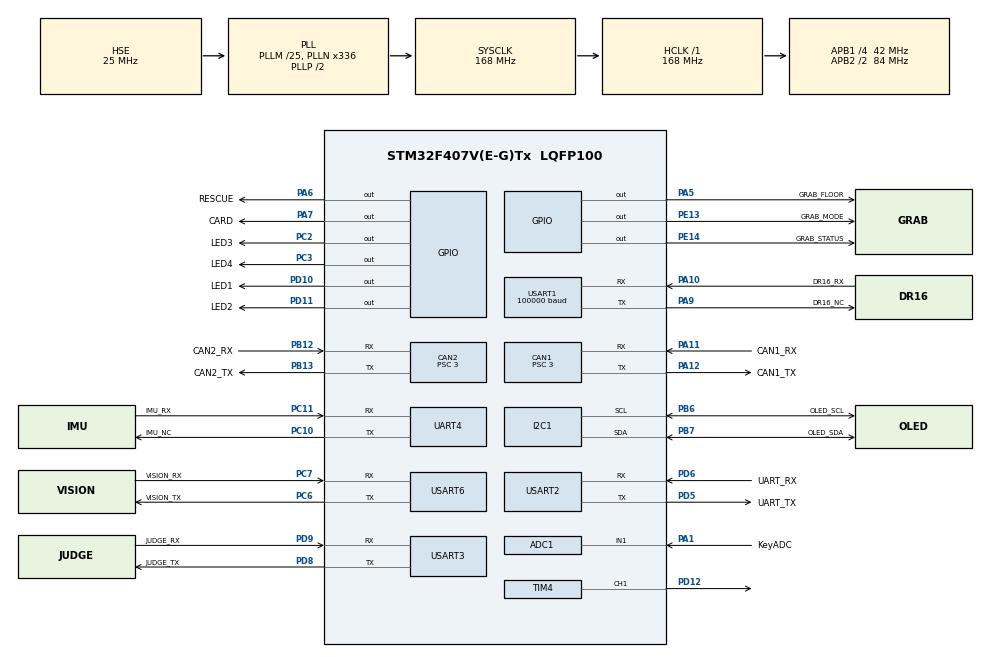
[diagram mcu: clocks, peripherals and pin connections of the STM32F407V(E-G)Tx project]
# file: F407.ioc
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ADC1.Channel-1\#ChannelRegularConversion=ADC_CHANNEL_1
ADC1.Channel-2\#ChannelInjectedConversion=ADC_CHANNEL_1
ADC1.InjNumberOfConversion=1
ADC1.InjectedOffset-2\#ChannelInjectedConversion=0
ADC1.InjectedRank-2\#ChannelInjectedConversion=1
ADC1.NbrOfConversion=1
ADC1.NbrOfConversionFlag=1
ADC1.Rank-1\#ChannelRegularConversion=1
ADC1.SamplingTime-1\#ChannelRegularConversion=ADC_SAMPLETIME_3CYCLES
ADC1.SamplingTime-2\#ChannelInjectedConversion=ADC_SAMPLETIME_3CYCLES
ADC1.master=1
CAN1.BS1=CAN_BS1_10TQ
CAN1.BS2=CAN_BS2_3TQ
CAN1.CalculateBaudRate=1000000
CAN1.CalculateTimeBit=999.99
CAN1.CalculateTimeQuantum=71.42857142857143
CAN1.Prescaler=3
CAN2.BS1=CAN_BS1_10TQ
CAN2.BS2=CAN_BS2_3TQ
CAN2.CalculateBaudRate=1000000
CAN2.CalculateTimeBit=999.99
CAN2.CalculateTimeQuantum=71.42857142857143
CAN2.Prescaler=3
CAN2.SJW=CAN_SJW_1TQ
Dma.Request0=USART1_RX
Dma.Request1=USART3_RX
Dma.Request2=USART3_TX
Dma.USART1_RX.0.Direction=DMA_PERIPH_TO_MEMORY
Dma.USART1_RX.0.FIFOMode=DMA_FIFOMODE_DISABLE
Dma.USART1_RX.0.Instance=DMA2_Stream2
Dma.USART1_RX.0.MemDataAlignment=DMA_MDATAALIGN_BYTE
Dma.USART1_RX.0.MemInc=DMA_MINC_ENABLE
Dma.USART1_RX.0.Mode=DMA_CIRCULAR
Dma.USART1_RX.0.PeriphDataAlignment=DMA_PDATAALIGN_BYTE
Dma.USART1_RX.0.PeriphInc=DMA_PINC_DISABLE
Dma.USART1_RX.0.Priority=DMA_PRIORITY_VERY_HIGH
Dma.USART3_RX.1.Direction=DMA_PERIPH_TO_MEMORY
Dma.USART3_RX.1.FIFOMode=DMA_FIFOMODE_DISABLE
Dma.USART3_RX.1.Instance=DMA1_Stream1
Dma.USART3_RX.1.MemDataAlignment=DMA_MDATAALIGN_BYTE
Dma.USART3_RX.1.MemInc=DMA_MINC_ENABLE
Dma.USART3_RX.1.Mode=DMA_CIRCULAR
Dma.USART3_RX.1.PeriphDataAlignment=DMA_PDATAALIGN_BYTE
Dma.USART3_RX.1.PeriphInc=DMA_PINC_DISABLE
Dma.USART3_RX.1.Priority=DMA_PRIORITY_MEDIUM
Dma.USART3_TX.2.Direction=DMA_MEMORY_TO_PERIPH
Dma.USART3_TX.2.FIFOMode=DMA_FIFOMODE_DISABLE
Dma.USART3_TX.2.Instance=DMA1_Stream3
Dma.USART3_TX.2.MemDataAlignment=DMA_MDATAALIGN_BYTE
Dma.USART3_TX.2.MemInc=DMA_MINC_ENABLE
Dma.USART3_TX.2.Mode=DMA_NORMAL
Dma.USART3_TX.2.PeriphDataAlignment=DMA_PDATAALIGN_BYTE
Dma.USART3_TX.2.PeriphInc=DMA_PINC_DISABLE
Dma.USART3_TX.2.Priority=DMA_PRIORITY_MEDIUM
FREERTOS.Queues01=RDtHMsg,16,uint32_t,0,Dynamic,NULL,NULL;RDtCMsg,16,uint32_t,0,Dynamic,NULL,NULL;RDtSMsg,16,uint32_t,0,Dynamic,NULL,NULL;HDtHMsg,16,uint32_t,0,Dynamic,NULL,NULL
FREERTOS.Tasks01=LED,-3,64,taskLED,Default,NULL,Dynamic,NULL,NULL;MSG,2,128,taskMsg,Default,NULL,Dynamic,NULL,NULL;UI,-1,128,taskUI,Default,NULL,Dynamic,NULL,NULL;KEY,-1,128,taskKey,Default,NULL,Dynamic,NULL,NULL;Chassis,3,512,taskChassis,Default,NULL,Dynamic,NULL,NULL;Holder,3,512,taskHolder,Default,NULL,Dynamic,NULL,NULL;rescue,3,512,taskRescue,Default,NULL,Dynamic,NULL,NULL;Judge,2,1024,taskJudge,Default,NULL,Dynamic,NULL,NULL
FREERTOS.configENABLE_FPU=1
FREERTOS.configMAX_PRIORITIES=7
FREERTOS.configMINIMAL_STACK_SIZE=64
FREERTOS.configQUEUE_REGISTRY_SIZE=16
I2C1.DualAddressMode=I2C_DUALADDRESS_DISABLE
I2C1.I2C_Mode=I2C_Fast
I2C1.OwnAddress=0
IWDG.Reload=3000
Mcu.Family=STM32F4
Mcu.Name=STM32F407V(E-G)Tx
Mcu.Package=LQFP100
NVIC.CAN1_RX0_IRQn=true\:5\:0\:false\:false\:true\:true\:true\:true
NVIC.CAN1_TX_IRQn=true\:5\:0\:false\:false\:true\:true\:true\:true
NVIC.CAN2_RX0_IRQn=true\:5\:0\:false\:false\:true\:true\:true\:true
NVIC.CAN2_TX_IRQn=true\:5\:0\:false\:false\:true\:true\:true\:true
NVIC.DMA1_Stream1_IRQn=true\:5\:0\:false\:false\:true\:true\:false\:true
NVIC.DMA1_Stream3_IRQn=true\:5\:0\:false\:false\:true\:true\:false\:true
NVIC.DMA2_Stream2_IRQn=true\:5\:0\:false\:false\:true\:true\:false\:true
NVIC.PriorityGroup=NVIC_PRIORITYGROUP_4
NVIC.TIM6_DAC_IRQn=true\:0\:0\:false\:false\:true\:false\:false\:true
NVIC.TIM7_IRQn=true\:1\:0\:true\:false\:true\:false\:true\:true
NVIC.TIM8_TRG_COM_TIM14_IRQn=true\:5\:0\:false\:false\:true\:true\:true\:true
NVIC.TimeBase=TIM6_DAC_IRQn
NVIC.TimeBaseIP=TIM6
NVIC.UART4_IRQn=true\:5\:0\:false\:false\:true\:false\:true\:true
NVIC.USART1_IRQn=true\:0\:0\:true\:false\:true\:false\:true\:true
NVIC.USART2_IRQn=true\:0\:0\:true\:false\:true\:false\:true\:true
NVIC.USART3_IRQn=true\:5\:0\:true\:false\:true\:true\:true\:true
NVIC.USART6_IRQn=true\:5\:0\:false\:false\:true\:true\:true\:true
PA1.GPIO_Label=KeyADC
PA1.Signal=ADCx_IN1
PA10.GPIO_Label=DR16_RX
PA10.Mode=Asynchronous
PA10.Signal=USART1_RX
PA11.GPIO_Label=CAN1_RX
PA11.Mode=CAN_Activate
PA11.Signal=CAN1_RX
PA12.GPIO_Label=CAN1_TX
PA12.Mode=CAN_Activate
PA12.Signal=CAN1_TX
PA13.GPIO_Label=SWDIO
PA13.Mode=Serial_Wire
PA13.Signal=SYS_JTMS-SWDIO
PA14.GPIO_Label=SWCLK
PA14.Mode=Serial_Wire
PA14.Signal=SYS_JTCK-SWCLK
PA5.GPIO_Label=GRAB_FLOOR
PA5.GPIO_PuPd=GPIO_PULLUP
PA5.GPIO_Speed=GPIO_SPEED_FREQ_VERY_HIGH
PA5.PinState=GPIO_PIN_RESET
PA5.Signal=GPIO_Output
PA6.GPIO_Label=RESCUE
PA6.GPIO_PuPd=GPIO_PULLUP
PA6.GPIO_Speed=GPIO_SPEED_FREQ_VERY_HIGH
PA6.Signal=GPIO_Output
PA7.GPIO_Label=CARD
PA7.GPIO_PuPd=GPIO_PULLUP
PA7.GPIO_Speed=GPIO_SPEED_FREQ_VERY_HIGH
PA7.Signal=GPIO_Output
PA9.GPIO_Label=DR16_NC
PA9.Mode=Asynchronous
PA9.Signal=USART1_TX
PB12.GPIO_Label=CAN2_RX
PB12.Mode=CAN_Activate
PB12.Signal=CAN2_RX
PB13.GPIO_Label=CAN2_TX
PB13.Mode=CAN_Activate
PB13.Signal=CAN2_TX
PB6.GPIO_Label=OLED_SCL
PB6.GPIO_Pu=GPIO_PULLUP
PB6.Mode=I2C
PB6.Signal=I2C1_SCL
PB7.GPIO_Label=OLED_SDA
PB7.GPIO_Pu=GPIO_PULLUP
PB7.Mode=I2C
PB7.Signal=I2C1_SDA
PC10.GPIO_Label=IMU_NC
PC10.Mode=Asynchronous
PC10.Signal=UART4_TX
PC11.GPIO_Label=IMU_RX
PC11.Mode=Asynchronous
PC11.Signal=UART4_RX
PC2.GPIO_Label=LED3
PC2.GPIO_PuPd=GPIO_PULLUP
PC2.GPIO_Speed=GPIO_SPEED_FREQ_HIGH
PC2.Signal=GPIO_Output
PC3.GPIO_Label=LED4
PC3.GPIO_PuPd=GPIO_PULLUP
PC3.GPIO_Speed=GPIO_SPEED_FREQ_HIGH
PC3.Signal=GPIO_Output
PC6.GPIO_Label=VISION_TX
PC6.Mode=Asynchronous
PC6.Signal=USART6_TX
PC7.GPIO_Label=VISION_RX
PC7.Mode=Asynchronous
PC7.Signal=USART6_RX
PD10.GPIO_Label=LED1
PD10.GPIO_PuPd=GPIO_PULLUP
PD10.GPIO_Speed=GPIO_SPEED_FREQ_HIGH
PD10.Signal=GPIO_Output
PD11.GPIO_Label=LED2
PD11.GPIO_PuPd=GPIO_PULLUP
PD11.GPIO_Speed=GPIO_SPEED_FREQ_HIGH
PD11.Signal=GPIO_Output
PD12.Signal=S_TIM4_CH1
PD5.GPIO_Label=UART_TX
PD5.Mode=Asynchronous
PD5.Signal=USART2_TX
PD6.GPIO_Label=UART_RX
PD6.Mode=Asynchronous
PD6.Signal=USART2_RX
PD8.GPIO_Label=JUDGE_TX
PD8.Mode=Asynchronous
PD8.Signal=USART3_TX
PD9.GPIO_Label=JUDGE_RX
PD9.Mode=Asynchronous
PD9.Signal=USART3_RX
PE13.GPIO_Label=GRAB_MODE
PE13.GPIO_PuPd=GPIO_NOPULL
PE13.GPIO_Speed=GPIO_SPEED_FREQ_VERY_HIGH
PE13.Signal=GPIO_Output
PE14.GPIO_Label=GRAB_STATUS
PE14.GPIO_PuPd=GPIO_NOPULL
PE14.GPIO_Speed=GPIO_SPEED_FREQ_VERY_HIGH
PE14.Signal=GPIO_Output
PH0-OSC_IN.GPIO_Label=OSC_IN
PH0-OSC_IN.Mode=HSE-External-Oscillator
PH0-OSC_IN.Signal=RCC_OSC_IN
PH1-OSC_OUT.GPIO_Label=OSC_OUT
PH1-OSC_OUT.Mode=HSE-External-Oscillator
PH1-OSC_OUT.Signal=RCC_OSC_OUT
ProjectManager.HeapSize=0x200
ProjectManager.StackSize=0x400
ProjectManager.TargetToolchain=MDK-ARM V5.27
RCC.48MHZClocksFreq_Value=84000000
RCC.AHBFreq_Value=168000000
RCC.APB1CLKDivider=RCC_HCLK_DIV4
RCC.APB1Freq_Value=42000000
RCC.APB1TimFreq_Value=84000000
RCC.APB2CLKDivider=RCC_HCLK_DIV2
RCC.APB2Freq_Value=84000000
RCC.APB2TimFreq_Value=168000000
RCC.CortexFreq_Value=168000000
RCC.HCLKFreq_Value=168000000
RCC.HSE_VALUE=25000000
RCC.HSI_VALUE=16000000
RCC.LSE_VALUE=32768
RCC.PLLM=25
RCC.PLLN=336
RCC.PLLSourceVirtual=RCC_PLLSOURCE_HSE
RCC.SYSCLKFreq_VALUE=168000000
RCC.SYSCLKSource=RCC_SYSCLKSOURCE_PLLCLK
RCC.VCOOutputFreq_Value=336000000
SH.ADCx_IN1.0=ADC1_IN1,IN1
SH.S_TIM4_CH1.0=TIM4_CH1,PWM Generation1 CH1
TIM14.Period=2500-1
TIM14.Prescaler=8400-1
TIM4.Channel-PWM\ Generation1\ CH1=TIM_CHANNEL_1
TIM4.Period=100
TIM4.Prescaler=84-1
TIM7.Period=65536-1
TIM7.Prescaler=84-1
UART4.VirtualMode=Asynchronous
USART1.BaudRate=100000
USART1.Mode=MODE_RX
USART1.Parity=PARITY_EVEN
USART1.VirtualMode=VM_ASYNC
USART1.WordLength=WORDLENGTH_9B
USART2.VirtualMode=VM_ASYNC
USART3.VirtualMode=VM_ASYNC
USART6.VirtualMode=VM_ASYNC
VP_FREERTOS_VS_CMSIS_V1.Mode=CMSIS_V1
VP_IWDG_VS_IWDG.Mode=IWDG_Activate
VP_SYS_VS_tim6.Mode=TIM6
VP_TIM14_VS_ClockSourceINT.Mode=Enable_Timer
VP_TIM7_VS_ClockSourceINT.Mode=Enable_Timer
board=custom

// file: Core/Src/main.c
/* USER CODE BEGIN Header */
/**
  ******************************************************************************
  * @file           : main.c
  * @brief          : Main program body
  ******************************************************************************
  * @attention
  *
  * <h2><center>&copy; Copyright (c) 2020 STMicroelectronics.
  * All rights reserved.</center></h2>
  *
  * This software component is licensed by ST under Ultimate Liberty license
  * SLA0044, the "License"; You may not use this file except in compliance with
  * the License. You may obtain a copy of the License at:
  *                             www.st.com/SLA0044
  *
  ******************************************************************************
  */
/* USER CODE END Header */
#include "main.h"
#include "cmsis_os.h"
#include "adc.h"
#include "can.h"
#include "dma.h"
#include "i2c.h"
#include "iwdg.h"
#include "tim.h"
#include "usart.h"
#include "gpio.h"

/* USER CODE BEGIN Includes */
#include "judge.h"
#include "vision.h"
#include "mpu6500.h"
#include "oled.h"
#include <string.h>
#include "judge_tx.h"
#include "iwdg.h"
#include "holder.h"
#include "chassis.h"
/* USER CODE END Includes */

void SystemClock_Config(void);
void MX_FREERTOS_Init(void);

int main(void)
{

  /* MCU Configuration--------------------------------------------------------*/

  /* Reset of all peripherals, Initializes the Flash interface and the Systick. */
  HAL_Init();

  /* Configure the system clock */
  SystemClock_Config();

  /* Initialize all configured peripherals */
  MX_GPIO_Init();
  MX_DMA_Init();
  MX_USART1_UART_Init();
  MX_USART2_UART_Init();
  MX_CAN1_Init();
  MX_CAN2_Init();
  MX_I2C1_Init();
  MX_UART4_Init();
  MX_TIM7_Init();
  MX_TIM14_Init();
  MX_ADC1_Init();
  MX_USART3_UART_Init();
  MX_USART6_UART_Init();
  MX_TIM4_Init();
  MX_IWDG_Init();
  /* USER CODE BEGIN 2 */
  TIM14_START();
  UART1_RemoteStart();
  CAN1_FilterInit();
  CAN2_FilterInit();
  UART4_IMUStart();
  UART3_JudgeStart();
  UART6_VisionStart();
  TIM4_PWMSTART();
  ADC1_IN1START();
  OLED_Init();
  HAL_Delay(500);
  UART1_RemoteCheck();/* 不插遥控器调试时关闭 */
  MX_IWDG_Init();
#ifdef DEBUG_USART
	USART2_DebugStart();
#endif
  /* USER CODE END 2 */

  /* Call init function for freertos objects (in freertos.c) */
  MX_FREERTOS_Init();
  /* Start scheduler */
  osKernelStart();

  /* We should never get here as control is now taken by the scheduler */
  /* Infinite loop */
  while (1)
  {

  }
}

void SystemClock_Config(void)
{
  RCC_OscInitTypeDef RCC_OscInitStruct = {0};
  RCC_ClkInitTypeDef RCC_ClkInitStruct = {0};

  /** Configure the main internal regulator output voltage
  */
  __HAL_RCC_PWR_CLK_ENABLE();
  __HAL_PWR_VOLTAGESCALING_CONFIG(PWR_REGULATOR_VOLTAGE_SCALE1);
  /** Initializes the RCC Oscillators according to the specified parameters
  * in the RCC_OscInitTypeDef structure.
  */
  RCC_OscInitStruct.OscillatorType = RCC_OSCILLATORTYPE_LSI|RCC_OSCILLATORTYPE_HSE;
  RCC_OscInitStruct.HSEState = RCC_HSE_ON;
  RCC_OscInitStruct.LSIState = RCC_LSI_ON;
  RCC_OscInitStruct.PLL.PLLState = RCC_PLL_ON;
  RCC_OscInitStruct.PLL.PLLSource = RCC_PLLSOURCE_HSE;
  RCC_OscInitStruct.PLL.PLLM = 25;
  RCC_OscInitStruct.PLL.PLLN = 336;
  RCC_OscInitStruct.PLL.PLLP = RCC_PLLP_DIV2;
  RCC_OscInitStruct.PLL.PLLQ = 4;
  if (HAL_RCC_OscConfig(&RCC_OscInitStruct) != HAL_OK)
  {
    Error_Handler();
  }
  /** Initializes the CPU, AHB and APB buses clocks
  */
  RCC_ClkInitStruct.ClockType = RCC_CLOCKTYPE_HCLK|RCC_CLOCKTYPE_SYSCLK
                              |RCC_CLOCKTYPE_PCLK1|RCC_CLOCKTYPE_PCLK2;
  RCC_ClkInitStruct.SYSCLKSource = RCC_SYSCLKSOURCE_PLLCLK;
  RCC_ClkInitStruct.AHBCLKDivider = RCC_SYSCLK_DIV1;
  RCC_ClkInitStruct.APB1CLKDivider = RCC_HCLK_DIV4;
  RCC_ClkInitStruct.APB2CLKDivider = RCC_HCLK_DIV2;

  if (HAL_RCC_ClockConfig(&RCC_ClkInitStruct, FLASH_LATENCY_5) != HAL_OK)
  {
    Error_Handler();
  }
}

void HAL_TIM_PeriodElapsedCallback(TIM_HandleTypeDef *htim)
{
  if (htim->Instance == TIM6) {
    HAL_IncTick();
  }
  /* USER CODE BEGIN Callback 1 */
  if (htim->Instance == TIM14) {
    Observer.Tx = Observer.Rx;
    memset(&Observer.Rx,0,sizeof(rate_t));
	  HAL_IWDG_Refresh(&hiwdg);
  }
  /* USER CODE END Callback 1 */
}

void Error_Handler(void)
{
}

/************************ (C) COPYRIGHT STMicroelectronics *****END OF FILE****/

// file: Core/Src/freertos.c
/* USER CODE BEGIN Header */
/**
  ******************************************************************************
  * File Name          : freertos.c
  * Description        : Code for freertos applications
  ******************************************************************************
  * @attention
  *
  * <h2><center>&copy; Copyright (c) 2020 STMicroelectronics.
  * All rights reserved.</center></h2>
  *
  * This software component is licensed by ST under Ultimate Liberty license
  * SLA0044, the "License"; You may not use this file except in compliance with
  * the License. You may obtain a copy of the License at:
  *                             www.st.com/SLA0044
  *
  ******************************************************************************
  */
/* USER CODE END Header */

#include "FreeRTOS.h"
#include "task.h"
#include "main.h"
#include "cmsis_os.h"

/* USER CODE BEGIN Includes */
#include "usart.h"
#include "tim.h"
#include "ui.h"
#include "message.h"
#include "judge.h"
#include "vision.h"
#include "holder.h"
#include "chassis.h"
/* USER CODE END Includes */

/* USER CODE BEGIN Variables */
osEvent evt;
RemoteData_t look1;
/* USER CODE END Variables */
osThreadId LEDHandle;
osThreadId MSGHandle;
osThreadId UIHandle;
osThreadId KEYHandle;
osThreadId ChassisHandle;
osThreadId HolderHandle;
osThreadId rescueHandle;
osThreadId JudgeHandle;
osMessageQId RDtHMsgHandle;
osMessageQId RDtCMsgHandle;
osMessageQId RDtSMsgHandle;
osMessageQId HDtHMsgHandle;

void taskLED(void const * argument);
void taskMsg(void const * argument);
void taskUI(void const * argument);
void taskKey(void const * argument);
void taskChassis(void const * argument);
void taskHolder(void const * argument);
void taskRescue(void const * argument);
void taskJudge(void const * argument);

void MX_FREERTOS_Init(void); /* (MISRA C 2004 rule 8.1) */

/* GetIdleTaskMemory prototype (linked to static allocation support) */
void vApplicationGetIdleTaskMemory( StaticTask_t **ppxIdleTaskTCBBuffer, StackType_t **ppxIdleTaskStackBuffer, uint32_t *pulIdleTaskStackSize );

/* USER CODE BEGIN GET_IDLE_TASK_MEMORY */
static StaticTask_t xIdleTaskTCBBuffer;
static StackType_t xIdleStack[configMINIMAL_STACK_SIZE];

void vApplicationGetIdleTaskMemory(StaticTask_t **ppxIdleTaskTCBBuffer, StackType_t **ppxIdleTaskStackBuffer, uint32_t *pulIdleTaskStackSize)
{
    *ppxIdleTaskTCBBuffer = &xIdleTaskTCBBuffer;
    *ppxIdleTaskStackBuffer = &xIdleStack[0];
    *pulIdleTaskStackSize = configMINIMAL_STACK_SIZE;
    /* place for user code */
}
/* USER CODE END GET_IDLE_TASK_MEMORY */

void MX_FREERTOS_Init(void) {

  /* Create the queue(s) */
  /* definition and creation of RDtHMsg */
  osMessageQDef(RDtHMsg, 16, uint32_t);
  RDtHMsgHandle = osMessageCreate(osMessageQ(RDtHMsg), NULL);

  /* definition and creation of RDtCMsg */
  osMessageQDef(RDtCMsg, 16, uint32_t);
  RDtCMsgHandle = osMessageCreate(osMessageQ(RDtCMsg), NULL);

  /* definition and creation of RDtSMsg */
  osMessageQDef(RDtSMsg, 16, uint32_t);
  RDtSMsgHandle = osMessageCreate(osMessageQ(RDtSMsg), NULL);

  /* definition and creation of HDtHMsg */
  osMessageQDef(HDtHMsg, 16, uint32_t);
  HDtHMsgHandle = osMessageCreate(osMessageQ(HDtHMsg), NULL);

  /* Create the thread(s) */
  /* definition and creation of LED */
  osThreadDef(LED, taskLED, osPriorityIdle, 0, 64);
  LEDHandle = osThreadCreate(osThread(LED), NULL);

  /* definition and creation of MSG */
  osThreadDef(MSG, taskMsg, osPriorityHigh, 0, 128);
  MSGHandle = osThreadCreate(osThread(MSG), NULL);

  /* definition and creation of UI */
  osThreadDef(UI, taskUI, osPriorityBelowNormal, 0, 128);
  UIHandle = osThreadCreate(osThread(UI), NULL);

  /* definition and creation of KEY */
  osThreadDef(KEY, taskKey, osPriorityBelowNormal, 0, 128);
  KEYHandle = osThreadCreate(osThread(KEY), NULL);

  /* definition and creation of Chassis */
  osThreadDef(Chassis, taskChassis, osPriorityRealtime, 0, 512);
  ChassisHandle = osThreadCreate(osThread(Chassis), NULL);

  /* definition and creation of Holder */
  osThreadDef(Holder, taskHolder, osPriorityRealtime, 0, 512);
  HolderHandle = osThreadCreate(osThread(Holder), NULL);

  /* definition and creation of rescue */
  osThreadDef(rescue, taskRescue, osPriorityRealtime, 0, 512);
  rescueHandle = osThreadCreate(osThread(rescue), NULL);

  /* definition and creation of Judge */
  osThreadDef(Judge, taskJudge, osPriorityHigh, 0, 1024);
  JudgeHandle = osThreadCreate(osThread(Judge), NULL);

}

void taskLED(void const * argument)
{
  /* USER CODE BEGIN taskLED */
    HAL_GPIO_WritePin(GPIOD, LED1_Pin, GPIO_PIN_RESET);
    HAL_GPIO_WritePin(GPIOD, LED2_Pin, GPIO_PIN_SET);
    HAL_GPIO_WritePin(GPIOC, LED3_Pin, GPIO_PIN_RESET);
    HAL_GPIO_WritePin(GPIOC, LED4_Pin, GPIO_PIN_SET);
    RemoteData_t *RDMsg;

    /* Infinite loop */
    for (;;)
    {
        HAL_GPIO_TogglePin(GPIOD, LED1_Pin);
        HAL_GPIO_TogglePin(GPIOD, LED2_Pin);
        HAL_GPIO_TogglePin(GPIOC, LED3_Pin);
        HAL_GPIO_TogglePin(GPIOC, LED4_Pin);

        uint8_t id = (uint8_t)JUDGE_u8GetRobotId();

        evt = osMessageGet(RDtCMsgHandle,0);
        if(evt.status == osEventMessage)
        {
            RDMsg = (RemoteData_t*)evt.value.v;
        }

        Vision_SendData(*RDMsg);

        osDelay(5);
    }
  /* USER CODE END taskLED */
}

void taskMsg(void const * argument)
{
  /* USER CODE BEGIN taskMsg */
    /* Infinite loop */
    for (;;)
    {
        RemoteData_t RDMsg;
        HolderData_t HDMsg;
        RemoteDataMsg_Process(&RDMsg);
        HolderDataMsg_Process(&HDMsg);
        osMessagePut(RDtHMsgHandle, (uint32_t)&RDMsg, 0);
        osMessagePut(RDtCMsgHandle, (uint32_t)&RDMsg, 0);
        osMessagePut(HDtHMsgHandle, (uint32_t)&HDMsg, 0);
        osMessagePut(RDtSMsgHandle, (uint32_t)&RDMsg, 0);
        osDelay(10);
    }
  /* USER CODE END taskMsg */
}

void taskUI(void const * argument)
{
  /* USER CODE BEGIN taskUI */
    UI_Init();
    /* Infinite loop */
    for (;;)
    {
        UI_Process();
        osDelay(10);
    }
  /* USER CODE END taskUI */
}

void taskKey(void const * argument)
{
  /* USER CODE BEGIN taskKey */
    /* Infinite loop */
    for (;;)
    {
        Key_Process();
        osDelay(10);
    }
  /* USER CODE END taskKey */
}

void taskChassis(void const * argument)
{
  /* USER CODE BEGIN taskChassis */
    RemoteData_t *RDMsg;
    Chassis_Init();
    /* Infinite loop */
    for(;;)
    {
        evt = osMessageGet(RDtCMsgHandle,0);
        if(evt.status == osEventMessage)
        {
            RDMsg = (RemoteData_t*)evt.value.v;
        }
        Chassis_Process(*RDMsg);
				look1 = *RDMsg;
        osDelay(5);
    }
  /* USER CODE END taskChassis */
}

void taskHolder(void const * argument)
{
  /* USER CODE BEGIN taskHolder */
    osDelay(500);
    HolderData_t *HDMsg;
    RemoteData_t *RDMsg;
    evt = osMessageGet(HDtHMsgHandle,0);
    if(evt.status == osEventMessage)
    {
        HDMsg = (HolderData_t*)evt.value.v;
    }

    Holder_Pid_Init();
    /* Infinite loop */
    for(;;)
    {
        evt = osMessageGet(HDtHMsgHandle,0);
        if(evt.status == osEventMessage)
        {
            HDMsg = (HolderData_t*)evt.value.v;
        }
        evt = osMessageGet(RDtHMsgHandle,0);
        if(evt.status == osEventMessage)
        {
            RDMsg = (RemoteData_t*)evt.value.v;
        }
        Holder_Process(*HDMsg,*RDMsg);
        osDelay(5);
    }
  /* USER CODE END taskHolder */
}

void taskRescue(void const * argument)
{
  for(;;)
  {
    osDelay(1);
  }
}

void taskJudge(void const * argument)
{
  /* USER CODE BEGIN taskJudge */
    Judge_InitData();
    /* Infinite loop */
    for (;;)
    {
        Judge_Proccess();
        osDelay(10);
    }
  /* USER CODE END taskJudge */
}

/************************ (C) COPYRIGHT STMicroelectronics *****END OF FILE****/
